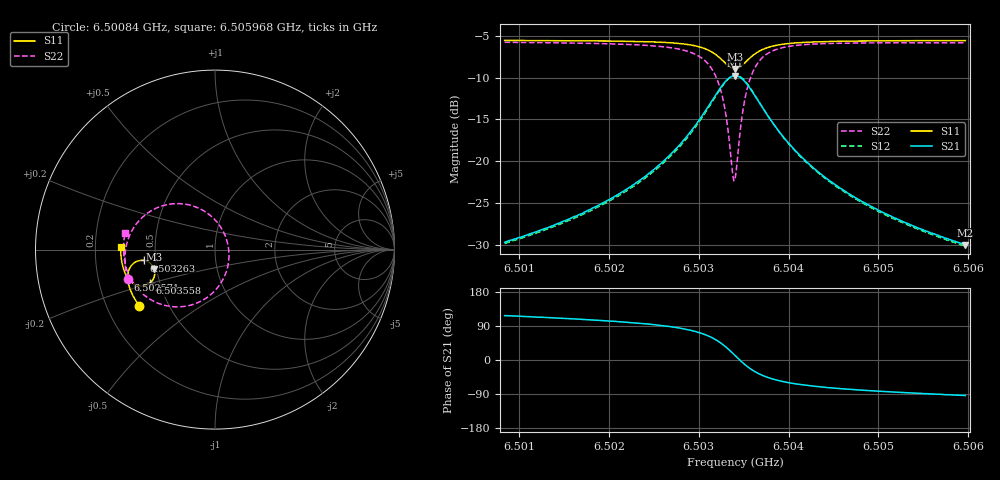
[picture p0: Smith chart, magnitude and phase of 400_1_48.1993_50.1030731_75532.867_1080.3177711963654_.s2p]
#  HZ  S  RI  R  50.00
! Rohde & Schwarz Vector Network Analyzer
! Rohde-Schwarz,ZNB20-2Port,1311601062101988,3.16
! Created: UTC 3/20/2024, 11:53:58 AM
! freq[Hz]  re:S11  im:S11  re:S21  im:S21  re:S12  im:S12  re:S22  im:S22
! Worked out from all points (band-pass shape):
!   401 points, 6.50084 GHz to 6.505968 GHz, reference 50 ohm
!   highest |S21| = -9.77 dB at 6.503404 GHz (marker M1); lowest = -30.0 dB at 6.505968 GHz (marker M2)
!   |S21| within 3 dB of the highest: 6.503148 GHz to 6.503661 GHz (513.2 kHz wide, 0.00789 % of centre)
!   lowest |S11| = -9.0 dB at 6.503404 GHz (marker M3), VSWR 2.10, Z = 24.2 - j6.05 ohm
!   |S11| at or under -10 dB: nowhere
!   |S22| runs from -22.3 to -5.8 dB; largest |S21 - S12| = 0.011
!   S11 on the Smith chart (normalised r, x): 6.50084 GHz: 0.34, -0.30; 6.502571 GHz: 0.33, -0.15; 6.503263 GHz: 0.43, -0.06; 6.503558 GHz: 0.44, -0.20; 6.505968 GHz: 0.31, +0.01
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6.5008402e9  -0.4211 -0.3161  -0.0149 0.0292  -0.0134 0.0293  -0.4864 -0.1645
6.5016992e9  -0.4587 -0.2535  -0.0145 0.0466  -0.0121 0.0462  -0.5014 -0.0748
6.5021479e9  -0.4751 -0.2144  -0.0121 0.0644  -0.00901 0.0635  -0.4998 -0.013
6.5025582e9  -0.4855 -0.1703  -0.00298 0.0948  0.000445 0.0925  -0.4812 0.0661
6.502571e9  -0.4856 -0.1686  -0.00266 0.0961  0.000916 0.0938  -0.4799 0.0691
6.5028146e9  -0.4851 -0.1335  0.0156 0.1291  0.0193 0.1253  -0.4418 0.1386
6.5029941e9  -0.4738 -0.1002  0.0499 0.1651  0.0532 0.1597  -0.3742 0.2045
6.5031607e9  -0.4393 -0.0672  0.1269 0.1983  0.1282 0.192  -0.2328 0.2554
6.5032633e9  -0.3969 -0.0604  0.2116 0.1899  0.2118 0.1846  -0.0855 0.2284
6.5033146e9  -0.3715 -0.0687  0.2598 0.1621  0.2604 0.1577  -0.00567 0.1717
6.5033787e9  -0.3449 -0.0948  0.3073 0.0996  0.3097 0.0948  0.0659 0.0512
6.5034043e9  -0.3386 -0.1091  0.3175 0.0677  0.3205 0.0622  0.0771 -0.00801
6.50343e9  -0.3355 -0.1245  0.3214 0.0347  0.3246 0.0279  0.0757 -0.0684
6.5034941e9  -0.3423 -0.1613  0.3041 -0.0425  0.3058 -0.0522  0.0218 -0.2022
6.5035582e9  -0.3632 -0.1869  0.2618 -0.0963  0.2608 -0.1072  -0.0731 -0.2846
6.5036607e9  -0.4022 -0.202  0.1882 -0.1324  0.183 -0.1415  -0.221 -0.319
6.5038274e9  -0.448 -0.1925  0.1076 -0.1298  0.1006 -0.1348  -0.3666 -0.2734
6.5040069e9  -0.4752 -0.1711  0.0634 -0.1101  0.0573 -0.1124  -0.4381 -0.2095
6.5042633e9  -0.4959 -0.1412  0.0336 -0.0864  0.0292 -0.0867  -0.4813 -0.138
6.5046479e9  -0.5115 -0.1015  0.0149 -0.0635  0.0116 -0.0632  -0.5036 -0.0637
6.5051223e9  -0.521 -0.058  0.00509 -0.0473  0.00288 -0.0465  -0.5097 0.00204
6.5059684e9  -0.5259 0.0134  -0.00206 -0.0316  -0.00328 -0.031  -0.5019 0.0904
